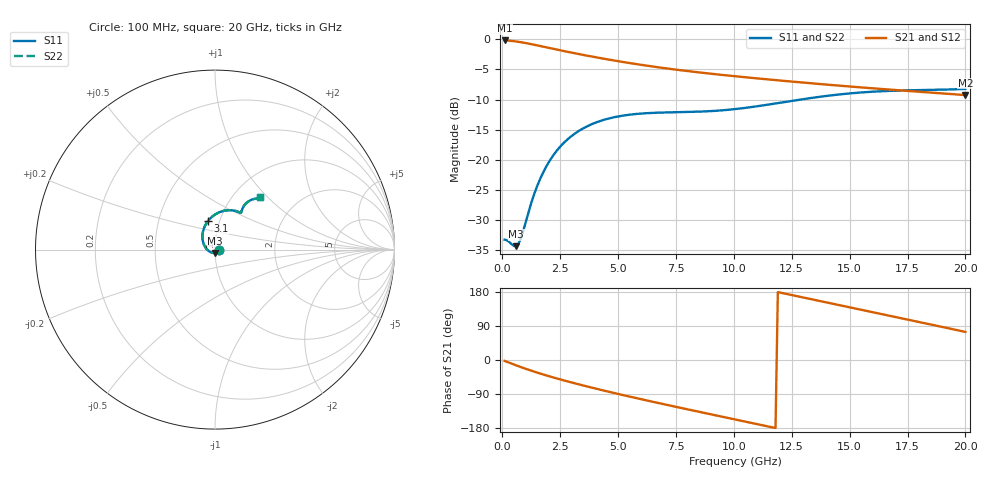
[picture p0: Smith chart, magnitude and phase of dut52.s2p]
! Created with skrf 1.9.0 (http://scikit-rf.org).
# GHz S RI R 50.0
!freq ReS11 ImS11 ReS21 ImS21 ReS12 ImS12 ReS22 ImS22
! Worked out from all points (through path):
!   200 points, 100 MHz to 20 GHz, reference 50 ohm
!   highest |S21| = -0.20 dB at 100 MHz (marker M1); lowest = -9.3 dB at 20 GHz (marker M2)
!   group delay of S21, straight-line fit = 37.7 ps
!   lowest |S11| = -34.3 dB at 600 MHz (marker M3), VSWR 1.04, Z = 50.1 - j1.92 ohm
!   |S11| at or under -10 dB: start of sweep to 12.88 GHz
!   |S22| runs from -34.3 to -8.2 dB; largest |S21 - S12| = 1.9e-15
!   S11 on the Smith chart (normalised r, x): 100 MHz: 1.04, -0.01; 3.1 GHz: 0.88, +0.29; 20 GHz: 1.32, +0.91
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0.1  0.0212 -0.00463  0.9767 -0.0409  0.9767 -0.0409  0.0212 -0.00463
0.6  0.00131 -0.0191  0.9295 -0.235  0.9295 -0.235  0.00131 -0.0191
0.7  -0.00534 -0.0194  0.9136 -0.2697  0.9136 -0.2697  -0.00534 -0.0194
0.8  -0.0124 -0.0184  0.8961 -0.3029  0.8961 -0.3029  -0.0124 -0.0184
1.4  -0.0522 0.0107  0.7687 -0.4656  0.7687 -0.4656  -0.0522 0.0107
1.8  -0.0671 0.0452  0.674 -0.5426  0.674 -0.5426  -0.0671 0.0452
2.1  -0.0701 0.0739  0.6022 -0.5869  0.6022 -0.5869  -0.0701 0.0739
2.4  -0.0666 0.1022  0.5312 -0.6214  0.5312 -0.6214  -0.0666 0.1022
3.1  -0.0399 0.1583  0.3716 -0.6714  0.3716 -0.6714  -0.0399 0.1583
3.5  -0.0179 0.1817  0.2856 -0.684  0.2856 -0.684  -0.0179 0.1817
4.2  0.0237 0.2077  0.1459 -0.6843  0.1459 -0.6843  0.0237 0.2077
5  0.0669 0.2189  0.00486 -0.6579  0.00486 -0.6579  0.0669 0.2189
5.9  0.1035 0.2177  -0.1299 -0.6036  -0.1299 -0.6036  0.1035 0.2177
6.8  0.1265 0.2112  -0.2402 -0.5312  -0.2402 -0.5312  0.1265 0.2112
8.4  0.1432 0.2053  -0.3801 -0.3743  -0.3801 -0.3743  0.1432 0.2053
10.1  0.1487 0.218  -0.455 -0.1881  -0.455 -0.1881  0.1487 0.218
11.7  0.1607 0.2429  -0.4599 -0.0141  -0.4599 -0.0141  0.1607 0.2429
13.4  0.1865 0.2686  -0.4039 0.1483  -0.4039 0.1483  0.1865 0.2686
15.1  0.2183 0.2822  -0.3002 0.2705  -0.3002 0.2705  0.2183 0.2822
16.7  0.242 0.2837  -0.1759 0.3398  -0.1759 0.3398  0.242 0.2837
18.3  0.2527 0.2833  -0.0415 0.3611  -0.0415 0.3611  0.2527 0.2833
20  0.2524 0.2939  0.0947 0.3309  0.0947 0.3309  0.2524 0.2939
